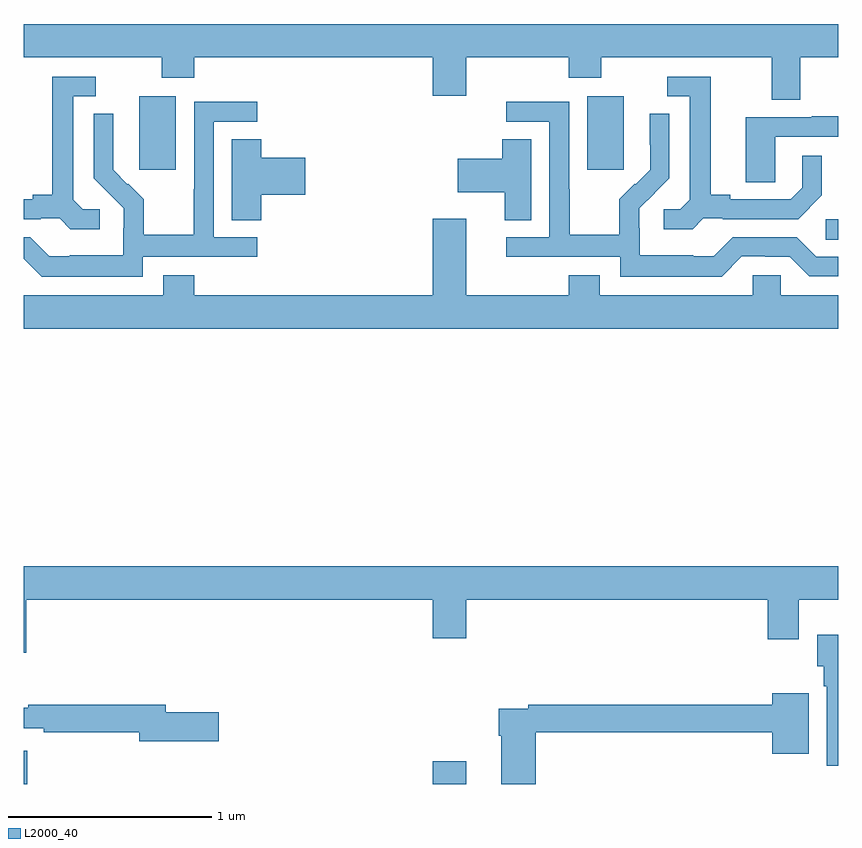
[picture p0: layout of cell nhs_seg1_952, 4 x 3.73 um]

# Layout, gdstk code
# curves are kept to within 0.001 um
import gdstk
lib = gdstk.Library(unit=1e-6, precision=1e-09)
def R(c, l, rs):  # rectangles x0, y0, x1, y1
    for r in rs: c.add(gdstk.rectangle(r[:2], r[2:], *l))
def P(c, l, *ps):  # polygons
    for p in ps: c.add(gdstk.Polygon(p, *l))
L2000_40 = (2000, 40)

nhs_seg1_952 = lib.new_cell('nhs_seg1_952')
R(nhs_seg1_952, L2000_40, [(163,512.199,163.016,512.362), (165.008,512.199,165.172,512.311), (166.938,514.873,167,514.974), (163.568,515.217,163.747,515.578), (165.767,515.217,165.946,515.578)])
P(nhs_seg1_952, L2000_40, [(166.813,515.768),(167,515.768),(167,515.932),(163,515.932),(163,515.768),(163.678,515.768),(163.678,515.669),(163.838,515.669),(163.838,515.768),(165.008,515.768),(165.008,515.58),(165.172,515.58),(165.172,515.768),(165.677,515.768),(165.677,515.669),(165.837,515.669),(165.837,515.768),(166.673,515.768),(166.673,515.56),(166.813,515.56)],
  [(166.338,514.977),(166.432,514.977),(166.432,514.974),(166.804,514.974),(166.92,515.09),(166.92,515.284),(166.823,515.284),(166.823,515.127),(166.766,515.07),(166.471,515.07),(166.471,515.093),(166.375,515.093),(166.375,515.673),(166.161,515.673),(166.161,515.577),(166.271,515.577),(166.271,515.069),(166.224,515.022),(166.143,515.022),(166.143,514.925),(166.286,514.925)],
  [(163.372,515.022),(163.29,515.022),(163.243,515.069),(163.243,515.577),(163.354,515.577),(163.354,515.673),(163.139,515.673),(163.139,515.093),(163.043,515.093),(163.043,515.07),(163,515.07),(163,514.974),(163.082,514.974),(163.082,514.977),(163.176,514.977),(163.228,514.925),(163.372,514.925)],
  [(163.584,514.788),(164.146,514.788),(164.146,514.884),(163.932,514.884),(163.932,515.451),(164.146,515.451),(164.146,515.55),(163.836,515.55),(163.836,515.12),(163.834,515.12),(163.834,514.897),(163.589,514.897),(163.589,515.071),(163.512,515.148),(163.509,515.145),(163.439,515.216),(163.44,515.492),(163.344,515.492),(163.344,515.174),(163.49,515.026),(163.49,514.929),(163.488,514.929),(163.488,514.795),(163.225,514.795),(163.225,514.791),(163.125,514.791),(163.032,514.884),(163,514.884),(163,514.778),(163.087,514.691),(163.584,514.691)],
  [(166.527,514.791),(166.643,514.791),(166.643,514.788),(166.761,514.788),(166.857,514.692),(167,514.692),(167,514.788),(166.893,514.788),(166.797,514.884),(166.482,514.884),(166.389,514.791),(166.289,514.791),(166.289,514.795),(166.026,514.795),(166.026,514.929),(166.024,514.929),(166.024,515.026),(166.17,515.174),(166.17,515.492),(166.074,515.492),(166.074,515.338),(166.076,515.338),(166.076,515.216),(166.005,515.145),(166.002,515.148),(165.925,515.071),(165.925,514.897),(165.681,514.897),(165.681,515.12),(165.678,515.12),(165.678,515.55),(165.369,515.55),(165.369,515.451),(165.582,515.451),(165.582,514.884),(165.369,514.884),(165.369,514.788),(165.93,514.788),(165.93,514.691),(166.427,514.691)],
  [(166.692,515.379),(167,515.379),(167,515.479),(166.871,515.479),(166.871,515.475),(166.547,515.475),(166.547,515.155),(166.692,515.155)],
  [(165.493,515.366),(165.35,515.366),(165.35,515.27),(165.132,515.27),(165.132,515.105),(165.362,515.105),(165.362,514.969),(165.493,514.969)],
  [(164.165,515.093),(164.383,515.093),(164.383,515.276),(164.165,515.276),(164.165,515.366),(164.021,515.366),(164.021,514.969),(164.165,514.969)],
  [(167,514.6),(166.719,514.6),(166.719,514.698),(166.581,514.698),(166.581,514.6),(165.829,514.6),(165.829,514.699),(165.677,514.699),(165.677,514.6),(165.172,514.6),(165.172,514.975),(165.008,514.975),(165.008,514.6),(163.838,514.6),(163.838,514.699),(163.685,514.699),(163.685,514.6),(163,514.6),(163,514.436),(167,514.436)],
  [(163.013,513.104),(165.008,513.104),(165.008,512.916),(165.172,512.916),(165.172,513.104),(166.655,513.104),(166.655,512.91),(166.807,512.91),(166.807,513.104),(167,513.104),(167,513.268),(163,513.268),(163,512.844),(163.013,512.844)],
  [(167,512.932),(166.898,512.932),(166.898,512.778),(166.928,512.778),(166.928,512.678),(166.943,512.678),(166.943,512.289),(167,512.289)],
  [(165.515,512.452),(166.676,512.452),(166.676,512.348),(166.855,512.348),(166.855,512.644),(166.676,512.644),(166.676,512.588),(165.478,512.588),(165.478,512.568),(165.332,512.568),(165.332,512.435),(165.344,512.435),(165.344,512.199),(165.515,512.199)],
  [(163.957,512.552),(163.696,512.552),(163.696,512.588),(163.022,512.588),(163.022,512.573),(163,512.573),(163,512.472),(163.099,512.472),(163.099,512.452),(163.568,512.452),(163.568,512.41),(163.957,512.41)])

lib.write_gds('nhs_seg1_952.gds')
